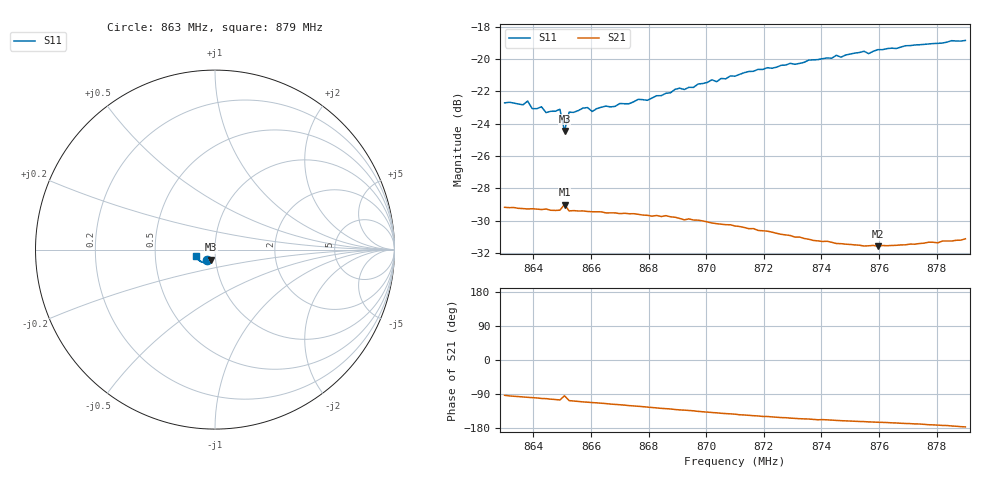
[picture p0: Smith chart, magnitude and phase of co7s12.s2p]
# HZ S RI R 50
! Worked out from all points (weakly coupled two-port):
!   101 points, 863 MHz to 879 MHz, reference 50 ohm
!   highest |S21| = -29.00 dB at 865.08 MHz (marker M1); lowest = -31.6 dB at 875.96 MHz (marker M2)
!   lowest |S11| = -24.5 dB at 865.08 MHz (marker M3), VSWR 1.13, Z = 47.6 - j5.36 ohm
!   |S11| at or under -10 dB: start of sweep to end of sweep
!   S12 and S22 are empty: the file has one direction only
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8.63e8  -0.045 -0.0577  -0.00191 -0.0347  0 0  0 0
8.6364e8  -0.0439 -0.0574  -0.00449 -0.0342  0 0  0 0
8.638e8  -0.0485 -0.0562  -0.00505 -0.034  0 0  0 0
8.6396e8  -0.0415 -0.0567  -0.00558 -0.034  0 0  0 0
8.6428e8  -0.0416 -0.0578  -0.00685 -0.0335  0 0  0 0
8.6444e8  -0.0395 -0.0558  -0.00709 -0.0336  0 0  0 0
8.6492e8  -0.0409 -0.0567  -0.0091 -0.0328  0 0  0 0
8.6508e8  -0.0211 -0.056  -0.00269 -0.0354  0 0  0 0
8.6524e8  -0.0379 -0.057  -0.01 -0.0324  0 0  0 0
8.6572e8  -0.0376 -0.0597  -0.0119 -0.0317  0 0  0 0
8.6604e8  -0.0362 -0.0586  -0.0128 -0.0312  0 0  0 0
8.6844e8  -0.0397 -0.0661  -0.0199 -0.0258  0 0  0 0
8.6892e8  -0.0417 -0.0691  -0.0211 -0.0246  0 0  0 0
8.6924e8  -0.042 -0.0687  -0.0214 -0.0235  0 0  0 0
8.702e8  -0.0474 -0.0722  -0.0233 -0.0206  0 0  0 0
8.71e8  -0.0517 -0.0719  -0.0243 -0.0183  0 0  0 0
8.7372e8  -0.0706 -0.0701  -0.0252 -0.0108  0 0  0 0
8.7548e8  -0.0838 -0.0647  -0.0252 -0.00795  0 0  0 0
8.7564e8  -0.0833 -0.0624  -0.0253 -0.00755  0 0  0 0
8.7596e8  -0.0872 -0.0621  -0.0254 -0.00713  0 0  0 0
8.7644e8  -0.091 -0.0585  -0.0257 -0.00649  0 0  0 0
8.79e8  -0.1079 -0.0378  -0.0277 -0.00166  0 0  0 0
